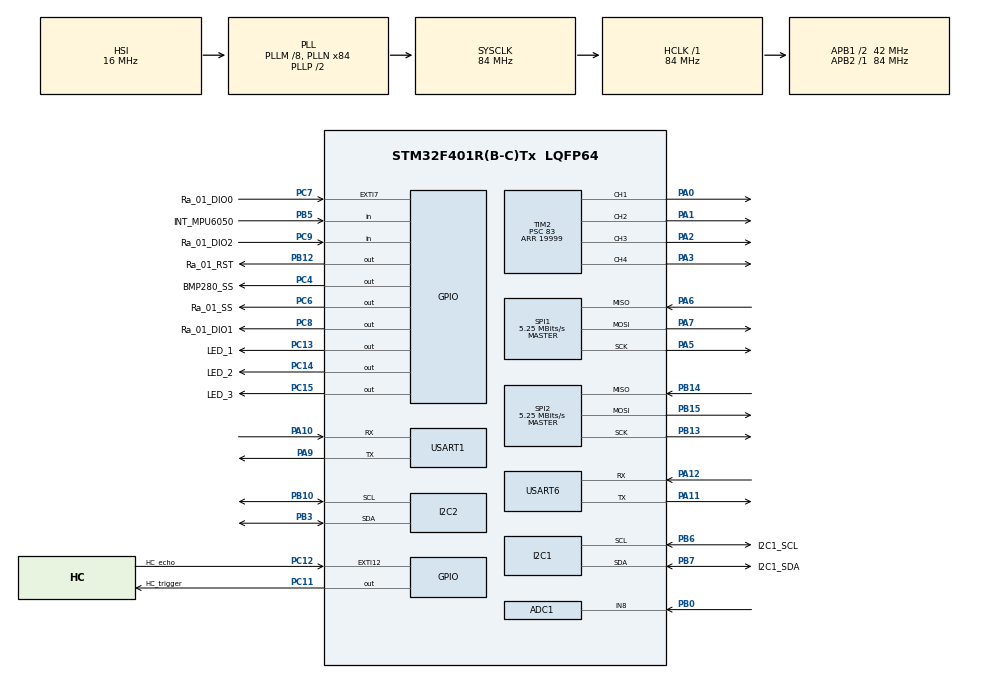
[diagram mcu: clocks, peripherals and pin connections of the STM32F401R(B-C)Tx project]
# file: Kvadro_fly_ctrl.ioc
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ADC1.Channel-10\#ChannelRegularConversion=ADC_CHANNEL_8
ADC1.ClockPrescaler=ADC_CLOCK_SYNC_PCLK_DIV8
ADC1.DMAContinuousRequests=ENABLE
ADC1.ExternalTrigConv=ADC_SOFTWARE_START
ADC1.ExternalTrigConvEdge=ADC_EXTERNALTRIGCONVEDGE_NONE
ADC1.NbrOfConversionFlag=1
ADC1.Rank-10\#ChannelRegularConversion=1
ADC1.SamplingTime-10\#ChannelRegularConversion=ADC_SAMPLETIME_480CYCLES
ADC1.master=1
Dma.ADC1.1.Direction=DMA_PERIPH_TO_MEMORY
Dma.ADC1.1.FIFOMode=DMA_FIFOMODE_DISABLE
Dma.ADC1.1.Instance=DMA2_Stream0
Dma.ADC1.1.MemDataAlignment=DMA_MDATAALIGN_HALFWORD
Dma.ADC1.1.MemInc=DMA_MINC_ENABLE
Dma.ADC1.1.Mode=DMA_CIRCULAR
Dma.ADC1.1.PeriphDataAlignment=DMA_PDATAALIGN_HALFWORD
Dma.ADC1.1.PeriphInc=DMA_PINC_DISABLE
Dma.ADC1.1.Priority=DMA_PRIORITY_LOW
Dma.I2C1_RX.0.Direction=DMA_PERIPH_TO_MEMORY
Dma.I2C1_RX.0.FIFOMode=DMA_FIFOMODE_DISABLE
Dma.I2C1_RX.0.Instance=DMA1_Stream0
Dma.I2C1_RX.0.MemDataAlignment=DMA_MDATAALIGN_BYTE
Dma.I2C1_RX.0.MemInc=DMA_MINC_ENABLE
Dma.I2C1_RX.0.Mode=DMA_NORMAL
Dma.I2C1_RX.0.PeriphDataAlignment=DMA_PDATAALIGN_BYTE
Dma.I2C1_RX.0.PeriphInc=DMA_PINC_DISABLE
Dma.I2C1_RX.0.Priority=DMA_PRIORITY_MEDIUM
Dma.Request0=I2C1_RX
Dma.Request1=ADC1
FREERTOS.Tasks01=defaultTask,24,128,StartDefaultTask,Default,NULL,Dynamic,NULL,NULL
FREERTOS.configUSE_NEWLIB_REENTRANT=1
I2C1.I2C_Mode=I2C_Fast
Mcu.Family=STM32F4
Mcu.Name=STM32F401R(B-C)Tx
Mcu.Package=LQFP64
NVIC.DMA1_Stream0_IRQn=true\:5\:0\:false\:false\:true\:true\:false\:true\:true
NVIC.DMA2_Stream0_IRQn=true\:5\:0\:false\:false\:true\:true\:false\:true\:true
NVIC.EXTI15_10_IRQn=true\:5\:0\:false\:false\:true\:true\:true\:true\:true
NVIC.EXTI9_5_IRQn=true\:5\:0\:true\:false\:true\:true\:true\:true\:true
NVIC.PriorityGroup=NVIC_PRIORITYGROUP_4
NVIC.TIM1_UP_TIM10_IRQn=true\:4\:0\:true\:false\:true\:false\:false\:true\:true
NVIC.TimeBase=TIM1_UP_TIM10_IRQn
NVIC.TimeBaseIP=TIM1
PA0-WKUP.Signal=S_TIM2_CH1_ETR
PA1.Signal=S_TIM2_CH2
PA10.Mode=Asynchronous
PA10.Signal=USART1_RX
PA11.Mode=Asynchronous
PA11.Signal=USART6_TX
PA12.Mode=Asynchronous
PA12.Signal=USART6_RX
PA13.Mode=Serial_Wire
PA13.Signal=SYS_JTMS-SWDIO
PA14.Mode=Serial_Wire
PA14.Signal=SYS_JTCK-SWCLK
PA2.Signal=S_TIM2_CH3
PA3.Signal=S_TIM2_CH4
PA5.Mode=Full_Duplex_Master
PA5.Signal=SPI1_SCK
PA6.Mode=Full_Duplex_Master
PA6.Signal=SPI1_MISO
PA7.Mode=Full_Duplex_Master
PA7.Signal=SPI1_MOSI
PA9.Mode=Asynchronous
PA9.Signal=USART1_TX
PB0.Signal=ADCx_IN8
PB10.Mode=I2C
PB10.Signal=I2C2_SCL
PB12.GPIO_Label=Ra_01_RST
PB12.Signal=GPIO_Output
PB13.Mode=Full_Duplex_Master
PB13.Signal=SPI2_SCK
PB14.Mode=Full_Duplex_Master
PB14.Signal=SPI2_MISO
PB15.Mode=Full_Duplex_Master
PB15.Signal=SPI2_MOSI
PB3.Mode=I2C
PB3.Signal=I2C2_SDA
PB5.GPIO_Label=INT_MPU6050
PB5.Signal=GPIO_Input
PB6.GPIO_Label=I2C1_SCL
PB6.Mode=I2C
PB6.Signal=I2C1_SCL
PB7.GPIO_Label=I2C1_SDA
PB7.Mode=I2C
PB7.Signal=I2C1_SDA
PC11.GPIO_Label=HC_trigger
PC11.GPIO_Speed=GPIO_SPEED_FREQ_MEDIUM
PC11.Signal=GPIO_Output
PC12.GPIO_Label=HC_echo
PC12.GPIO_ModeDefaultEXTI=GPIO_MODE_IT_RISING_FALLING
PC12.Signal=GPXTI12
PC13-ANTI_TAMP.GPIO_Label=LED_1
PC13-ANTI_TAMP.PinState=GPIO_PIN_SET
PC13-ANTI_TAMP.Signal=GPIO_Output
PC14-OSC32_IN.GPIO_Label=LED_2
PC14-OSC32_IN.Signal=GPIO_Output
PC15-OSC32_OUT.GPIO_Label=LED_3
PC15-OSC32_OUT.Signal=GPIO_Output
PC4.GPIO_Label=BMP280_SS
PC4.Signal=GPIO_Output
PC6.GPIO_Label=Ra_01_SS
PC6.Signal=GPIO_Output
PC7.GPIO_Label=Ra_01_DIO0
PC7.Signal=GPXTI7
PC8.GPIO_Label=Ra_01_DIO1
PC8.Signal=GPIO_Output
PC9.GPIO_Label=Ra_01_DIO2
PC9.Signal=GPIO_Input
PH0\ -\ OSC_IN.Mode=HSE-External-Oscillator
PH0\ -\ OSC_IN.Signal=RCC_OSC_IN
PH1\ -\ OSC_OUT.Mode=HSE-External-Oscillator
PH1\ -\ OSC_OUT.Signal=RCC_OSC_OUT
ProjectManager.HeapSize=0x200
ProjectManager.StackSize=0x400
ProjectManager.TargetToolchain=STM32CubeIDE
RCC.48MHZClocksFreq_Value=42000000
RCC.AHBFreq_Value=84000000
RCC.APB1CLKDivider=RCC_HCLK_DIV2
RCC.APB1Freq_Value=42000000
RCC.APB1TimFreq_Value=84000000
RCC.APB2Freq_Value=84000000
RCC.APB2TimFreq_Value=84000000
RCC.CortexFreq_Value=84000000
RCC.HCLKFreq_Value=84000000
RCC.HSE_VALUE=25000000
RCC.HSI_VALUE=16000000
RCC.LSE_VALUE=32768
RCC.PLLM=8
RCC.PLLN=84
RCC.SYSCLKFreq_VALUE=84000000
RCC.SYSCLKSource=RCC_SYSCLKSOURCE_PLLCLK
RCC.VCOOutputFreq_Value=168000000
SH.ADCx_IN8.0=ADC1_IN8,IN8
SH.S_TIM2_CH1_ETR.0=TIM2_CH1,PWM Generation1 CH1
SH.S_TIM2_CH2.0=TIM2_CH2,PWM Generation2 CH2
SH.S_TIM2_CH3.0=TIM2_CH3,PWM Generation3 CH3
SH.S_TIM2_CH4.0=TIM2_CH4,PWM Generation4 CH4
SPI1.BaudRatePrescaler=SPI_BAUDRATEPRESCALER_16
SPI1.CalculateBaudRate=5.25 MBits/s
SPI1.Direction=SPI_DIRECTION_2LINES
SPI1.Mode=SPI_MODE_MASTER
SPI1.VirtualType=VM_MASTER
SPI2.BaudRatePrescaler=SPI_BAUDRATEPRESCALER_8
SPI2.CLKPhase=SPI_PHASE_1EDGE
SPI2.CLKPolarity=SPI_POLARITY_LOW
SPI2.CalculateBaudRate=5.25 MBits/s
SPI2.Direction=SPI_DIRECTION_2LINES
SPI2.Mode=SPI_MODE_MASTER
SPI2.VirtualType=VM_MASTER
TIM2.AutoReloadPreload=TIM_AUTORELOAD_PRELOAD_ENABLE
TIM2.Channel-PWM\ Generation1\ CH1=TIM_CHANNEL_1
TIM2.Channel-PWM\ Generation2\ CH2=TIM_CHANNEL_2
TIM2.Channel-PWM\ Generation3\ CH3=TIM_CHANNEL_3
TIM2.Channel-PWM\ Generation4\ CH4=TIM_CHANNEL_4
TIM2.Period=19999
TIM2.Prescaler=83
TIM2.Pulse-PWM\ Generation1\ CH1=1500
TIM2.Pulse-PWM\ Generation2\ CH2=1500
TIM2.Pulse-PWM\ Generation3\ CH3=1500
TIM3.AutoReloadPreload=TIM_AUTORELOAD_PRELOAD_ENABLE
TIM3.Prescaler=83
USART1.VirtualMode=VM_ASYNC
USART6.VirtualMode=VM_ASYNC
VP_FREERTOS_VS_CMSIS_V2.Mode=CMSIS_V2
VP_SYS_VS_tim1.Mode=TIM1
VP_TIM3_VS_ClockSourceINT.Mode=Internal
board=custom

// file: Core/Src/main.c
/* USER CODE BEGIN Header */
/**
  ******************************************************************************
  * @file           : main.c
  * @brief          : Main program body
  ******************************************************************************
  * @attention
  *
  * Copyright (c) 2026 STMicroelectronics.
  * All rights reserved.
  *
  * This software is licensed under terms that can be found in the LICENSE file
  * in the root directory of this software component.
  * If no LICENSE file comes with this software, it is provided AS-IS.
  *
  ******************************************************************************
  */
/* USER CODE END Header */
#include "main.h"
#include "cmsis_os.h"
#include "adc.h"
#include "dma.h"
#include "i2c.h"
#include "spi.h"
#include "tim.h"
#include "usart.h"
#include "gpio.h"

/* USER CODE BEGIN Includes */
#include "Task_Battery_CTRL.h"
#include "Task_bmp280.h"
#include "Task_ESC_CTRL.h"
#include "Task_HC_SR04.h"
#include "Task_MPU6050.h"
#include "Task_Telemetry.h"
/* USER CODE END Includes */

void SystemClock_Config(void);
void MX_FREERTOS_Init(void);

int main(void)
{

  /* MCU Configuration--------------------------------------------------------*/

  /* Reset of all peripherals, Initializes the Flash interface and the Systick. */
  HAL_Init();

  /* Configure the system clock */
  SystemClock_Config();

  /* Initialize all configured peripherals */
  MX_GPIO_Init();
  MX_DMA_Init();
  MX_I2C1_Init();
  MX_SPI1_Init();
  MX_SPI2_Init();
  MX_TIM2_Init();
  MX_USART1_UART_Init();
  MX_USART6_UART_Init();
  MX_ADC1_Init();
  MX_I2C2_Init();
  MX_TIM3_Init();
  /* USER CODE BEGIN 2 */
  Task_esc_ctrl_Start();
  Task_battery_ctrl_Start();
  Task_bmp280_Start();
  Task_hc_sr04_Start();
  Task_mpu6050_Start();
  Task_telemetry_Start();
  /* USER CODE END 2 */

  /* Init scheduler */
  osKernelInitialize();  /* Call init function for freertos objects (in cmsis_os2.c) */
  MX_FREERTOS_Init();

  /* Start scheduler */
  osKernelStart();

  /* We should never get here as control is now taken by the scheduler */

  /* Infinite loop */
  while (1)
  {

  }
}

void SystemClock_Config(void)
{
  RCC_OscInitTypeDef RCC_OscInitStruct = {0};
  RCC_ClkInitTypeDef RCC_ClkInitStruct = {0};

  /** Configure the main internal regulator output voltage
  */
  __HAL_RCC_PWR_CLK_ENABLE();
  __HAL_PWR_VOLTAGESCALING_CONFIG(PWR_REGULATOR_VOLTAGE_SCALE2);

  /** Initializes the RCC Oscillators according to the specified parameters
  * in the RCC_OscInitTypeDef structure.
  */
  RCC_OscInitStruct.OscillatorType = RCC_OSCILLATORTYPE_HSI;
  RCC_OscInitStruct.HSIState = RCC_HSI_ON;
  RCC_OscInitStruct.HSICalibrationValue = RCC_HSICALIBRATION_DEFAULT;
  RCC_OscInitStruct.PLL.PLLState = RCC_PLL_ON;
  RCC_OscInitStruct.PLL.PLLSource = RCC_PLLSOURCE_HSI;
  RCC_OscInitStruct.PLL.PLLM = 8;
  RCC_OscInitStruct.PLL.PLLN = 84;
  RCC_OscInitStruct.PLL.PLLP = RCC_PLLP_DIV2;
  RCC_OscInitStruct.PLL.PLLQ = 4;
  if (HAL_RCC_OscConfig(&RCC_OscInitStruct) != HAL_OK)
  {
    Error_Handler();
  }

  /** Initializes the CPU, AHB and APB buses clocks
  */
  RCC_ClkInitStruct.ClockType = RCC_CLOCKTYPE_HCLK|RCC_CLOCKTYPE_SYSCLK
                              |RCC_CLOCKTYPE_PCLK1|RCC_CLOCKTYPE_PCLK2;
  RCC_ClkInitStruct.SYSCLKSource = RCC_SYSCLKSOURCE_PLLCLK;
  RCC_ClkInitStruct.AHBCLKDivider = RCC_SYSCLK_DIV1;
  RCC_ClkInitStruct.APB1CLKDivider = RCC_HCLK_DIV2;
  RCC_ClkInitStruct.APB2CLKDivider = RCC_HCLK_DIV1;

  if (HAL_RCC_ClockConfig(&RCC_ClkInitStruct, FLASH_LATENCY_2) != HAL_OK)
  {
    Error_Handler();
  }
}

void HAL_TIM_PeriodElapsedCallback(TIM_HandleTypeDef *htim)
{
  if (htim->Instance == TIM1)
  {
    HAL_IncTick();
  }
}

void Error_Handler(void)
{
  __disable_irq();
  while (1)
  {
  }
}

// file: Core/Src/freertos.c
/* USER CODE BEGIN Header */
/**
  ******************************************************************************
  * File Name          : freertos.c
  * Description        : Code for freertos applications
  ******************************************************************************
  * @attention
  *
  * Copyright (c) 2026 STMicroelectronics.
  * All rights reserved.
  *
  * This software is licensed under terms that can be found in the LICENSE file
  * in the root directory of this software component.
  * If no LICENSE file comes with this software, it is provided AS-IS.
  *
  ******************************************************************************
  */
/* USER CODE END Header */

#include "FreeRTOS.h"
#include "task.h"
#include "main.h"
#include "cmsis_os.h"

/* USER CODE BEGIN Includes */
#include "bmp280.h"
#include "VL53L0X.h"
/* USER CODE END Includes */

/* USER CODE BEGIN Variables */
//===============BMP280===================
extern BMP280_HandleTypeDef bmp1;
extern VL53L0_Handle_TypeDef VL53L01;
//===============VL53L0====================
uint32_t refSpadCount;
uint8_t isApertureSpads;
uint8_t VhvSettings;
uint8_t PhaseCal;

// Флаги состояния
volatile uint8_t vl53l0x_ready = 0;
volatile uint8_t vl53l0x_error = 0;

statInfo_t_VL53L0X distanceStr;
uint16_t distance;
/* USER CODE END Variables */
/* Definitions for defaultTask */
osThreadId_t defaultTaskHandle;
const osThreadAttr_t defaultTask_attributes = {
  .name = "defaultTask",
  .stack_size = 128 * 4,
  .priority = (osPriority_t) osPriorityNormal,
};
/* Definitions for MPU6050_task */
osThreadId_t MPU6050_taskHandle;
const osThreadAttr_t MPU6050_task_attributes = {
  .name = "MPU6050_task",
  .stack_size = 128 * 4,
  .priority = (osPriority_t) osPriorityNormal,
};
/* Definitions for BMP280_Task */
osThreadId_t BMP280_TaskHandle;
const osThreadAttr_t BMP280_Task_attributes = {
  .name = "BMP280_Task",
  .stack_size = 128 * 4,
  .priority = (osPriority_t) osPriorityNormal,
};
/* Definitions for VL53L0_Task */
osThreadId_t VL53L0_TaskHandle;
const osThreadAttr_t VL53L0_Task_attributes = {
  .name = "VL53L0_Task",
  .stack_size = 128 * 4,
  .priority = (osPriority_t) osPriorityNormal,
};

void StartDefaultTask(void *argument);
void Start_MPU6050_task(void *argument);
void Start_BMP280_Task(void *argument);
void Start_VL53L0_Task(void *argument);

void MX_FREERTOS_Init(void); /* (MISRA C 2004 rule 8.1) */

void MX_FREERTOS_Init(void) {

  /* Create the thread(s) */
  /* creation of defaultTask */
  defaultTaskHandle = osThreadNew(StartDefaultTask, NULL, &defaultTask_attributes);

  /* creation of MPU6050_task */
  MPU6050_taskHandle = osThreadNew(Start_MPU6050_task, NULL, &MPU6050_task_attributes);

  /* creation of BMP280_Task */
  BMP280_TaskHandle = osThreadNew(Start_BMP280_Task, NULL, &BMP280_Task_attributes);

  /* creation of VL53L0_Task */
  VL53L0_TaskHandle = osThreadNew(Start_VL53L0_Task, NULL, &VL53L0_Task_attributes);

}

void StartDefaultTask(void *argument)
{
  for(;;)
  {
    osDelay(1);
  }
}

void Start_MPU6050_task(void *argument)
{
  for(;;)
  {
    osDelay(1);
  }
}

void Start_BMP280_Task(void *argument)
{
  /* USER CODE BEGIN Start_BMP280_Task */
	BMP280_Init(&bmp1);
	osDelay(50);
  /* Infinite loop */
  for(;;)
  {
	  BMP280_GetMeasuredData(&bmp1);

	  osDelay(20);
  }
  /* USER CODE END Start_BMP280_Task */
}

void Start_VL53L0_Task(void *argument)
{
  /* USER CODE BEGIN Start_VL53L0_Task */

	startContinuous(&VL53L01, 0);
	osDelay(10);

    /* === Основной цикл измерений === */
    for(;;)
    {
    	distance = readRangeContinuousMillimeters(&VL53L01);
        osDelay(5);  // ~20 Гц опроса, можно настроить под ваши нужды
    }
  /* USER CODE END Start_VL53L0_Task */
}
